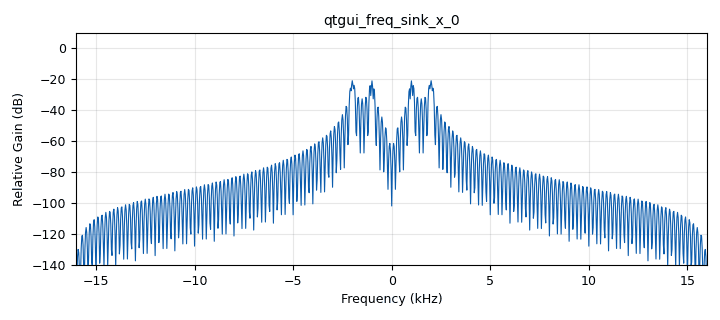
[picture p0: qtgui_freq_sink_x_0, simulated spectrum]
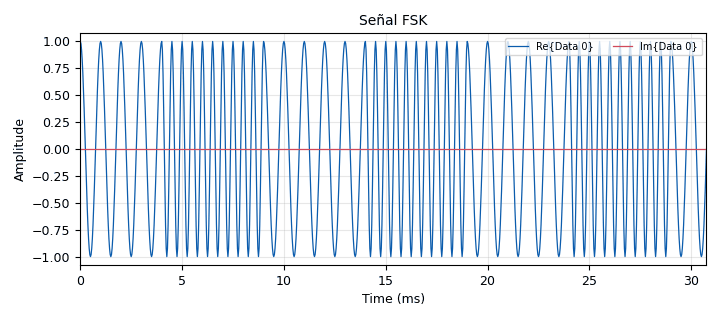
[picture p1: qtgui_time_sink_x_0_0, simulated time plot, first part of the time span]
options:
  parameters:
    author: Hugo Martínez
    generate_options: qt_gui
    id: fsk
    output_language: python
    title: Not titled yet
  states: {}

blocks:
- name: samp_rate
  id: variable
  parameters:
    value: '32000'
  states: {}
- name: analog_sig_source_x_0_0
  id: analog_sig_source_x
  parameters:
    amp: '1'
    freq: '100'
    offset: '0'
    phase: '0'
    samp_rate: samp_rate
    type: float
    waveform: analog.GR_SQR_WAVE
  states: {}
- name: analog_sig_source_x_1_0
  id: analog_sig_source_x
  parameters:
    amp: '1'
    freq: '1000'
    offset: '0'
    phase: '0'
    samp_rate: samp_rate
    type: float
    waveform: analog.GR_COS_WAVE
  states: {}
- name: analog_sig_source_x_1_0_0
  id: analog_sig_source_x
  parameters:
    amp: '1'
    freq: '2000'
    offset: '0'
    phase: '0'
    samp_rate: samp_rate
    type: float
    waveform: analog.GR_COS_WAVE
  states: {}
- name: blocks_add_const_vxx_0
  id: blocks_add_const_vxx
  parameters:
    const: '1'
    type: float
  states: {}
- name: blocks_add_xx_0
  id: blocks_add_xx
  parameters:
    type: float
  states: {}
- name: blocks_float_to_complex_0_0
  id: blocks_float_to_complex
  parameters: {}
  states: {}
- name: blocks_multiply_const_vxx_0
  id: blocks_multiply_const_vxx
  parameters:
    const: '-1'
    type: float
  states: {}
- name: blocks_multiply_xx_1_0
  id: blocks_multiply_xx
  parameters:
    type: float
  states: {}
- name: blocks_multiply_xx_1_0_0
  id: blocks_multiply_xx
  parameters:
    type: float
  states: {}
- name: qtgui_freq_sink_x_0
  id: qtgui_freq_sink_x
  parameters:
    bw: samp_rate
    fc: '0'
    fftsize: '1024'
    type: complex
  states: {}
- name: qtgui_time_sink_x_0_0
  id: qtgui_time_sink_x
  parameters:
    name: '"Señal FSK"'
    size: '2048'
    srate: samp_rate
    type: complex
  states: {}

connections:
- [analog_sig_source_x_0_0, '0', blocks_multiply_const_vxx_0, '0']
- [analog_sig_source_x_0_0, '0', blocks_multiply_xx_1_0_0, '1']
- [analog_sig_source_x_1_0, '0', blocks_multiply_xx_1_0_0, '0']
- [analog_sig_source_x_1_0_0, '0', blocks_multiply_xx_1_0, '1']
- [blocks_add_const_vxx_0, '0', blocks_multiply_xx_1_0, '0']
- [blocks_add_xx_0, '0', blocks_float_to_complex_0_0, '0']
- [blocks_float_to_complex_0_0, '0', qtgui_freq_sink_x_0, '0']
- [blocks_float_to_complex_0_0, '0', qtgui_time_sink_x_0_0, '0']
- [blocks_multiply_const_vxx_0, '0', blocks_add_const_vxx_0, '0']
- [blocks_multiply_xx_1_0, '0', blocks_add_xx_0, '1']
- [blocks_multiply_xx_1_0_0, '0', blocks_add_xx_0, '0']

metadata:
  file_format: 1
  grc_version: 3.10.12.0
